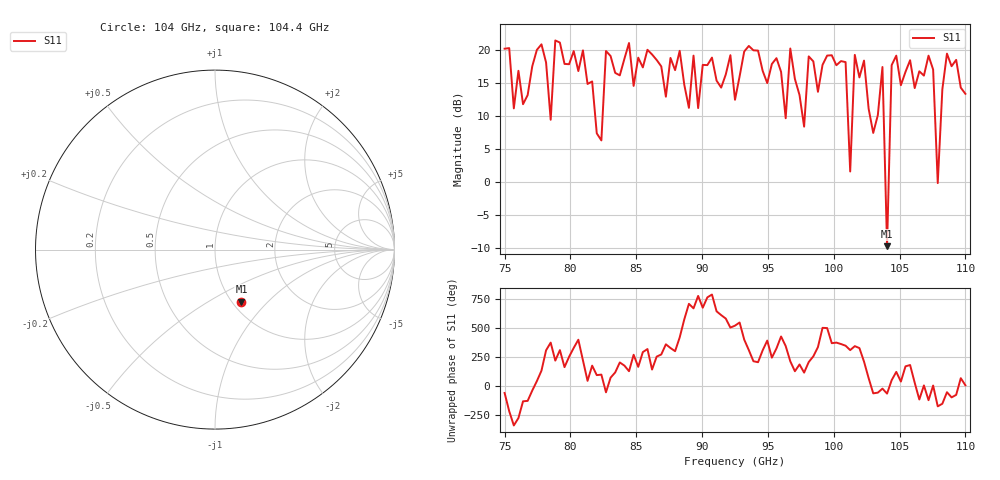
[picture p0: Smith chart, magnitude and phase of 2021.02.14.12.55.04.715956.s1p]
!Created with skrf (http://scikit-rf.org).
# GHz S RI R 50.0
!freq ReS11 ImS11
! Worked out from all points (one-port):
!   101 points, 75 GHz to 110 GHz, reference 50 ohm
!   lowest |S11| = -9.8 dB at 104 GHz (marker M1), VSWR 1.96, Z = 55.2 - j35.7 ohm
!   |S11| at or under -10 dB: nowhere
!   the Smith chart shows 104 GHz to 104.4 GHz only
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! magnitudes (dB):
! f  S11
! 75 GHz  20.3
! 75.7 GHz  11.2
! 77.8 GHz  20.9
! 78.5 GHz  9.4
! 78.85 GHz  21.5
! 79.55 GHz  17.9
! 80.95 GHz  20.0
! 82.35 GHz  6.3
! 82.7 GHz  19.9
! 83.75 GHz  16.2
! 88.3 GHz  19.9
! 92.5 GHz  12.5
! 93.55 GHz  20.7
! 97.05 GHz  15.6
! 97.75 GHz  8.4
! 98.1 GHz  19.1
! 100.9 GHz  18.2
! 101.2 GHz  1.6
! 101.6 GHz  19.3
! 103 GHz  7.4
! 103.7 GHz  17.5
! 104 GHz  -9.8
! 104.4 GHz  17.8
! 105.8 GHz  18.5
! 107.5 GHz  17.1
! 107.9 GHz  -0.2
! 108.6 GHz  19.5
! 110 GHz  13.4
